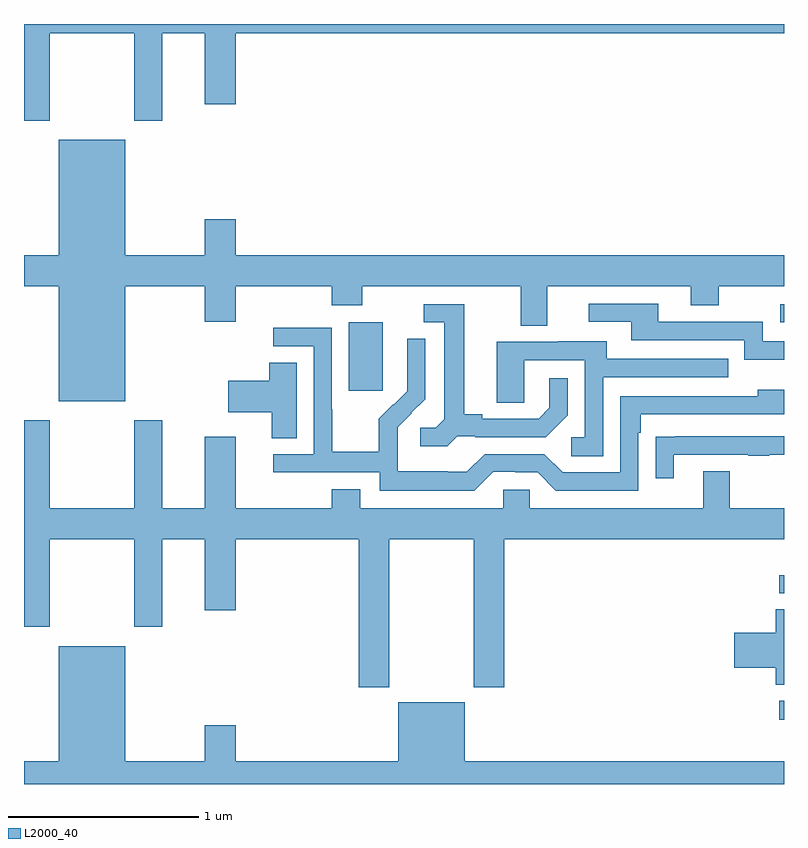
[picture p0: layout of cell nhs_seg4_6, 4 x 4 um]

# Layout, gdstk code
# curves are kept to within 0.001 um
import gdstk
lib = gdstk.Library(unit=1e-6, precision=1e-09)
def R(c, l, rs):  # rectangles x0, y0, x1, y1
    for r in rs: c.add(gdstk.rectangle(r[:2], r[2:], *l))
def P(c, l, *ps):  # polygons
    for p in ps: c.add(gdstk.Polygon(p, *l))
L2000_40 = (2000, 40)

nhs_seg4_6 = lib.new_cell('nhs_seg4_6')
R(nhs_seg4_6, L2000_40, [(114.975,761.239,115,761.337), (114.975,761.904,115,762), (112.709,762.969,112.888,763.33), (114.981,763.329,115,763.425)])
P(nhs_seg4_6, L2000_40, [(111.135,764.852),(111.58,764.852),(111.58,764.391),(111.727,764.391),(111.727,764.852),(111.95,764.852),(111.95,764.478),(112.114,764.478),(112.114,764.852),(115,764.852),(115,764.9),(111,764.9),(111,764.391),(111.135,764.391)],
  [(111.532,763.52),(111.95,763.52),(111.95,763.332),(112.114,763.332),(112.114,763.52),(112.619,763.52),(112.619,763.421),(112.779,763.421),(112.779,763.52),(113.615,763.52),(113.615,763.312),(113.755,763.312),(113.755,763.52),(114.509,763.52),(114.509,763.421),(114.657,763.421),(114.657,763.52),(115,763.52),(115,763.684),(112.114,763.684),(112.114,763.873),(111.95,763.873),(111.95,763.684),(111.532,763.684),(111.532,764.29),(111.182,764.29),(111.182,763.684),(111,763.684),(111,763.52),(111.182,763.52),(111.182,762.914),(111.532,762.914)],
  [(115,763.23),(114.888,763.23),(114.888,763.332),(114.337,763.332),(114.337,763.428),(113.973,763.428),(113.973,763.332),(114.197,763.332),(114.197,763.236),(114.792,763.236),(114.792,763.133),(115,763.133)],
  [(113.28,762.729),(113.374,762.729),(113.374,762.726),(113.746,762.726),(113.862,762.842),(113.862,763.036),(113.765,763.036),(113.765,762.879),(113.708,762.822),(113.413,762.822),(113.413,762.845),(113.317,762.845),(113.317,763.425),(113.103,763.425),(113.103,763.329),(113.213,763.329),(113.213,762.821),(113.166,762.774),(113.085,762.774),(113.085,762.677),(113.228,762.677)],
  [(113.469,762.543),(113.585,762.543),(113.585,762.54),(113.703,762.54),(113.799,762.444),(114.234,762.444),(114.234,762.749),(114.247,762.749),(114.247,762.846),(115,762.846),(115,762.976),(114.863,762.976),(114.863,762.942),(114.138,762.942),(114.138,762.54),(113.835,762.54),(113.739,762.636),(113.424,762.636),(113.331,762.543),(113.231,762.543),(113.231,762.547),(112.968,762.547),(112.968,762.681),(112.966,762.681),(112.966,762.778),(113.112,762.926),(113.112,763.244),(113.016,763.244),(113.016,763.09),(113.018,763.09),(113.018,762.968),(112.947,762.897),(112.944,762.9),(112.867,762.823),(112.867,762.649),(112.623,762.649),(112.623,762.872),(112.62,762.872),(112.62,763.302),(112.311,763.302),(112.311,763.203),(112.524,763.203),(112.524,762.636),(112.311,762.636),(112.311,762.54),(112.872,762.54),(112.872,762.443),(113.369,762.443)],
  [(114.048,763.041),(114.707,763.041),(114.707,763.137),(114.067,763.137),(114.067,763.231),(113.813,763.231),(113.813,763.227),(113.489,763.227),(113.489,762.907),(113.634,762.907),(113.634,763.131),(113.952,763.131),(113.952,762.726),(113.88,762.726),(113.88,762.625),(114.048,762.625)],
  [(112.435,763.118),(112.292,763.118),(112.292,763.023),(112.074,763.023),(112.074,762.857),(112.304,762.857),(112.304,762.721),(112.435,762.721)],
  [(112.923,762.188),(113.368,762.188),(113.368,761.409),(113.528,761.409),(113.528,762.188),(115,762.188),(115,762.352),(114.715,762.352),(114.715,762.547),(114.575,762.547),(114.575,762.352),(113.661,762.352),(113.661,762.45),(113.523,762.45),(113.523,762.352),(112.771,762.352),(112.771,762.451),(112.619,762.451),(112.619,762.352),(112.114,762.352),(112.114,762.727),(111.95,762.727),(111.95,762.352),(111.727,762.352),(111.727,762.814),(111.58,762.814),(111.58,762.352),(111.135,762.352),(111.135,762.814),(111,762.814),(111,761.727),(111.135,761.727),(111.135,762.188),(111.58,762.188),(111.58,761.727),(111.727,761.727),(111.727,762.188),(111.95,762.188),(111.95,761.814),(112.114,761.814),(112.114,762.188),(112.763,762.188),(112.763,761.409),(112.923,761.409)],
  [(114.421,762.633),(114.811,762.633),(114.811,762.628),(114.923,762.628),(114.923,762.633),(115,762.633),(115,762.729),(114.427,762.729),(114.427,762.728),(114.325,762.728),(114.325,762.51),(114.421,762.51)],
  [(115,761.819),(114.956,761.819),(114.956,761.696),(114.738,761.696),(114.738,761.513),(114.956,761.513),(114.956,761.422),(115,761.422)],
  [(115,761.02),(113.32,761.02),(113.32,761.329),(112.97,761.329),(112.97,761.02),(112.114,761.02),(112.114,761.209),(111.95,761.209),(111.95,761.02),(111.532,761.02),(111.532,761.626),(111.182,761.626),(111.182,761.02),(111,761.02),(111,760.9),(115,760.9)])

lib.write_gds('nhs_seg4_6.gds')
